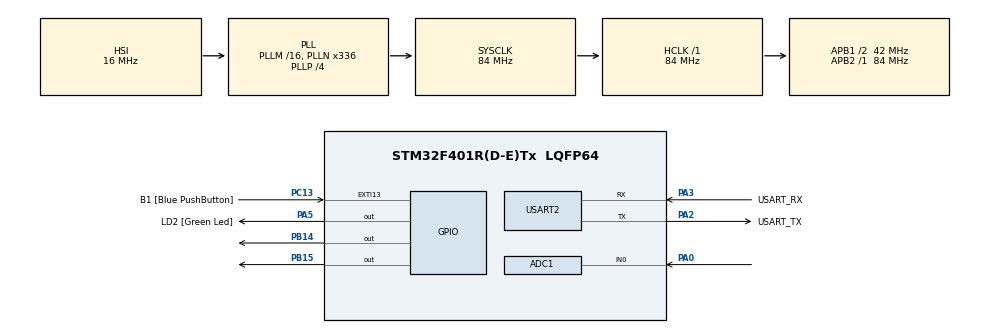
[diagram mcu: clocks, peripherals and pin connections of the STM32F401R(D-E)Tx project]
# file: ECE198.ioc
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ADC1.Channel-1\#ChannelRegularConversion=ADC_CHANNEL_0
ADC1.NbrOfConversionFlag=1
ADC1.Rank-1\#ChannelRegularConversion=1
ADC1.SamplingTime-1\#ChannelRegularConversion=ADC_SAMPLETIME_3CYCLES
ADC1.master=1
Mcu.Family=STM32F4
Mcu.Name=STM32F401R(D-E)Tx
Mcu.Package=LQFP64
NVIC.PriorityGroup=NVIC_PRIORITYGROUP_0
PA0-WKUP.Signal=ADCx_IN0
PA13.GPIO_Label=TMS
PA13.Mode=Serial_Wire
PA13.Signal=SYS_JTMS-SWDIO
PA14.GPIO_Label=TCK
PA14.Mode=Serial_Wire
PA14.Signal=SYS_JTCK-SWCLK
PA2.GPIO_Label=USART_TX
PA2.GPIO_Mode=GPIO_MODE_AF_PP
PA2.GPIO_PuPd=GPIO_NOPULL
PA2.GPIO_Speed=GPIO_SPEED_FREQ_LOW
PA2.Mode=Asynchronous
PA2.Signal=USART2_TX
PA3.GPIO_Label=USART_RX
PA3.GPIO_Mode=GPIO_MODE_AF_PP
PA3.GPIO_PuPd=GPIO_NOPULL
PA3.GPIO_Speed=GPIO_SPEED_FREQ_LOW
PA3.Mode=Asynchronous
PA3.Signal=USART2_RX
PA5.GPIO_Label=LD2 [Green Led]
PA5.GPIO_Mode=GPIO_MODE_OUTPUT_PP
PA5.GPIO_PuPd=GPIO_NOPULL
PA5.GPIO_Speed=GPIO_SPEED_FREQ_LOW
PA5.Signal=GPIO_Output
PB14.Signal=GPIO_Output
PB15.Signal=GPIO_Output
PB3.GPIO_Label=SWO
PB3.Signal=SYS_JTDO-SWO
PC13-ANTI_TAMP.GPIO_Label=B1 [Blue PushButton]
PC13-ANTI_TAMP.Signal=GPXTI13
PC14-OSC32_IN.Mode=LSE-External-Oscillator
PC14-OSC32_IN.Signal=RCC_OSC32_IN
PC15-OSC32_OUT.Mode=LSE-External-Oscillator
PC15-OSC32_OUT.Signal=RCC_OSC32_OUT
PH0\ -\ OSC_IN.Mode=HSE-External-Clock-Source
PH0\ -\ OSC_IN.Signal=RCC_OSC_IN
PH1\ -\ OSC_OUT.Mode=HSE-External-Clock-Source
PH1\ -\ OSC_OUT.Signal=RCC_OSC_OUT
ProjectManager.HeapSize=0x200
ProjectManager.StackSize=0x400
ProjectManager.TargetToolchain=STM32CubeIDE
RCC.48MHZClocksFreq_Value=48000000
RCC.AHBFreq_Value=84000000
RCC.APB1CLKDivider=RCC_HCLK_DIV2
RCC.APB1Freq_Value=42000000
RCC.APB1TimFreq_Value=84000000
RCC.APB2Freq_Value=84000000
RCC.APB2TimFreq_Value=84000000
RCC.CortexFreq_Value=84000000
RCC.HCLKFreq_Value=84000000
RCC.HSE_VALUE=8000000
RCC.HSI_VALUE=16000000
RCC.PLLN=336
RCC.PLLP=RCC_PLLP_DIV4
RCC.PLLQ=7
RCC.SYSCLKFreq_VALUE=84000000
RCC.SYSCLKSource=RCC_SYSCLKSOURCE_PLLCLK
RCC.VCOOutputFreq_Value=336000000
SH.ADCx_IN0.0=ADC1_IN0,IN0
USART2.VirtualMode=VM_ASYNC
board=NUCLEO-F401RE

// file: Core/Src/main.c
/* USER CODE BEGIN Header */
/**
  ******************************************************************************
  * @file           : main.c
  * @brief          : Main program body
  ******************************************************************************
  * @attention
  *
  * Copyright (c) 2023 STMicroelectronics.
  * All rights reserved.
  *
  * This software is licensed under terms that can be found in the LICENSE file
  * in the root directory of this software component.
  * If no LICENSE file comes with this software, it is provided AS-IS.
  *
  ******************************************************************************
  */
/* USER CODE END Header */
#include "main.h"

ADC_HandleTypeDef hadc1;

UART_HandleTypeDef huart2;

/* USER CODE BEGIN PV */
double tempArray[30] = {};
/* USER CODE END PV */

void SystemClock_Config(void);
static void MX_GPIO_Init(void);
static void MX_USART2_UART_Init(void);
static void MX_ADC1_Init(void);
/* USER CODE BEGIN PFP */
double tempAverage(double tempArray[], int capacity);
/* USER CODE END PFP */

/* USER CODE BEGIN 0 */
double tempAverage(double tempArray[], int capacity) {
	double sum = 0;
	double average = 0;
	for (int i  = 0; i < capacity; i++) {
		sum += tempArray[i];
	}
	average = sum/capacity;
	return average;
}
/* USER CODE END 0 */

int main(void)
{
  /* USER CODE BEGIN 1 */
  void measure() {
	  for (int i = 0; i < 30; i++) {
		  HAL_ADC_Start(&hadc1);
		  HAL_ADC_PollForConversion(&hadc1, HAL_MAX_DELAY);
		  double vOut = (HAL_ADC_GetValue(&hadc1)/4095.0) * 3.3;
		  tempArray[i] = (vOut-0.5)/(0.01); // [refer to data sheet]
		  HAL_GPIO_WritePin(GPIOB, GPIO_PIN_14, GPIO_PIN_SET);
		  HAL_Delay(500);
		  HAL_GPIO_WritePin(GPIOB, GPIO_PIN_14, GPIO_PIN_RESET);
		  HAL_Delay(500);
	  }
	  if (tempAverage(tempArray, 30) >= 11.1 && tempAverage(tempArray, 30) <= 33.1) {
		  HAL_GPIO_WritePin(GPIOB, GPIO_PIN_15, GPIO_PIN_SET);
		  HAL_GPIO_WritePin(GPIOB, GPIO_PIN_14, GPIO_PIN_SET);
		  HAL_Delay(1000);
		  HAL_GPIO_WritePin(GPIOB, GPIO_PIN_15, GPIO_PIN_RESET);
		  HAL_GPIO_WritePin(GPIOB, GPIO_PIN_14, GPIO_PIN_RESET);
	  } else {
		  HAL_GPIO_WritePin(GPIOB, GPIO_PIN_15, GPIO_PIN_SET);
		  HAL_GPIO_WritePin(GPIOB, GPIO_PIN_14, GPIO_PIN_SET);
		  HAL_Delay(5000);
		  HAL_GPIO_WritePin(GPIOB, GPIO_PIN_15, GPIO_PIN_RESET);
		  HAL_GPIO_WritePin(GPIOB, GPIO_PIN_14, GPIO_PIN_RESET);
	  }
  }
  /* USER CODE END 1 */

  /* MCU Configuration--------------------------------------------------------*/

  /* Reset of all peripherals, Initializes the Flash interface and the Systick. */
  HAL_Init();

  /* Configure the system clock */
  SystemClock_Config();

  /* Initialize all configured peripherals */
  MX_GPIO_Init();
  MX_USART2_UART_Init();
  MX_ADC1_Init();

  /* Infinite loop */
  /* USER CODE BEGIN WHILE */
  while (1)
  {
	  if(!(HAL_GPIO_ReadPin(B1_GPIO_Port, B1_Pin))) {
		  HAL_GPIO_WritePin(GPIOB, GPIO_PIN_15, GPIO_PIN_SET);
		  HAL_Delay(200);
		  HAL_GPIO_WritePin(GPIOB, GPIO_PIN_15, GPIO_PIN_RESET);
		  HAL_GPIO_WritePin(GPIOB, GPIO_PIN_14, GPIO_PIN_RESET);
		  measure();
	  }
    /* USER CODE END WHILE */

  }
}

void SystemClock_Config(void)
{
  RCC_OscInitTypeDef RCC_OscInitStruct = {0};
  RCC_ClkInitTypeDef RCC_ClkInitStruct = {0};

  /** Configure the main internal regulator output voltage
  */
  __HAL_RCC_PWR_CLK_ENABLE();
  __HAL_PWR_VOLTAGESCALING_CONFIG(PWR_REGULATOR_VOLTAGE_SCALE2);

  /** Initializes the RCC Oscillators according to the specified parameters
  * in the RCC_OscInitTypeDef structure.
  */
  RCC_OscInitStruct.OscillatorType = RCC_OSCILLATORTYPE_HSI;
  RCC_OscInitStruct.HSIState = RCC_HSI_ON;
  RCC_OscInitStruct.HSICalibrationValue = RCC_HSICALIBRATION_DEFAULT;
  RCC_OscInitStruct.PLL.PLLState = RCC_PLL_ON;
  RCC_OscInitStruct.PLL.PLLSource = RCC_PLLSOURCE_HSI;
  RCC_OscInitStruct.PLL.PLLM = 16;
  RCC_OscInitStruct.PLL.PLLN = 336;
  RCC_OscInitStruct.PLL.PLLP = RCC_PLLP_DIV4;
  RCC_OscInitStruct.PLL.PLLQ = 7;
  if (HAL_RCC_OscConfig(&RCC_OscInitStruct) != HAL_OK)
  {
    Error_Handler();
  }

  /** Initializes the CPU, AHB and APB buses clocks
  */
  RCC_ClkInitStruct.ClockType = RCC_CLOCKTYPE_HCLK|RCC_CLOCKTYPE_SYSCLK
                              |RCC_CLOCKTYPE_PCLK1|RCC_CLOCKTYPE_PCLK2;
  RCC_ClkInitStruct.SYSCLKSource = RCC_SYSCLKSOURCE_PLLCLK;
  RCC_ClkInitStruct.AHBCLKDivider = RCC_SYSCLK_DIV1;
  RCC_ClkInitStruct.APB1CLKDivider = RCC_HCLK_DIV2;
  RCC_ClkInitStruct.APB2CLKDivider = RCC_HCLK_DIV1;

  if (HAL_RCC_ClockConfig(&RCC_ClkInitStruct, FLASH_LATENCY_2) != HAL_OK)
  {
    Error_Handler();
  }
}

static void MX_ADC1_Init(void)
{

  ADC_ChannelConfTypeDef sConfig = {0};

  /** Configure the global features of the ADC (Clock, Resolution, Data Alignment and number of conversion)
  */
  hadc1.Instance = ADC1;
  hadc1.Init.ClockPrescaler = ADC_CLOCK_SYNC_PCLK_DIV4;
  hadc1.Init.Resolution = ADC_RESOLUTION_12B;
  hadc1.Init.ScanConvMode = DISABLE;
  hadc1.Init.ContinuousConvMode = DISABLE;
  hadc1.Init.DiscontinuousConvMode = DISABLE;
  hadc1.Init.ExternalTrigConvEdge = ADC_EXTERNALTRIGCONVEDGE_NONE;
  hadc1.Init.ExternalTrigConv = ADC_SOFTWARE_START;
  hadc1.Init.DataAlign = ADC_DATAALIGN_RIGHT;
  hadc1.Init.NbrOfConversion = 1;
  hadc1.Init.DMAContinuousRequests = DISABLE;
  hadc1.Init.EOCSelection = ADC_EOC_SINGLE_CONV;
  if (HAL_ADC_Init(&hadc1) != HAL_OK)
  {
    Error_Handler();
  }

  /** Configure for the selected ADC regular channel its corresponding rank in the sequencer and its sample time.
  */
  sConfig.Channel = ADC_CHANNEL_0;
  sConfig.Rank = 1;
  sConfig.SamplingTime = ADC_SAMPLETIME_3CYCLES;
  if (HAL_ADC_ConfigChannel(&hadc1, &sConfig) != HAL_OK)
  {
    Error_Handler();
  }

}

static void MX_USART2_UART_Init(void)
{

  huart2.Instance = USART2;
  huart2.Init.BaudRate = 115200;
  huart2.Init.WordLength = UART_WORDLENGTH_8B;
  huart2.Init.StopBits = UART_STOPBITS_1;
  huart2.Init.Parity = UART_PARITY_NONE;
  huart2.Init.Mode = UART_MODE_TX_RX;
  huart2.Init.HwFlowCtl = UART_HWCONTROL_NONE;
  huart2.Init.OverSampling = UART_OVERSAMPLING_16;
  if (HAL_UART_Init(&huart2) != HAL_OK)
  {
    Error_Handler();
  }

}

static void MX_GPIO_Init(void)
{
  GPIO_InitTypeDef GPIO_InitStruct = {0};

  /* GPIO Ports Clock Enable */
  __HAL_RCC_GPIOC_CLK_ENABLE();
  __HAL_RCC_GPIOH_CLK_ENABLE();
  __HAL_RCC_GPIOA_CLK_ENABLE();
  __HAL_RCC_GPIOB_CLK_ENABLE();

  /*Configure GPIO pin Output Level */
  HAL_GPIO_WritePin(LD2_GPIO_Port, LD2_Pin, GPIO_PIN_RESET);

  /*Configure GPIO pin Output Level */
  HAL_GPIO_WritePin(GPIOB, GPIO_PIN_14|GPIO_PIN_15, GPIO_PIN_RESET);

  /*Configure GPIO pin : B1_Pin */
  GPIO_InitStruct.Pin = B1_Pin;
  GPIO_InitStruct.Mode = GPIO_MODE_IT_RISING;
  GPIO_InitStruct.Pull = GPIO_NOPULL;
  HAL_GPIO_Init(B1_GPIO_Port, &GPIO_InitStruct);

  /*Configure GPIO pin : LD2_Pin */
  GPIO_InitStruct.Pin = LD2_Pin;
  GPIO_InitStruct.Mode = GPIO_MODE_OUTPUT_PP;
  GPIO_InitStruct.Pull = GPIO_NOPULL;
  GPIO_InitStruct.Speed = GPIO_SPEED_FREQ_LOW;
  HAL_GPIO_Init(LD2_GPIO_Port, &GPIO_InitStruct);

  /*Configure GPIO pins : PB14 PB15 */
  GPIO_InitStruct.Pin = GPIO_PIN_14|GPIO_PIN_15;
  GPIO_InitStruct.Mode = GPIO_MODE_OUTPUT_PP;
  GPIO_InitStruct.Pull = GPIO_NOPULL;
  GPIO_InitStruct.Speed = GPIO_SPEED_FREQ_LOW;
  HAL_GPIO_Init(GPIOB, &GPIO_InitStruct);

}

void Error_Handler(void)
{
  __disable_irq();
  while (1)
  {
  }
}
